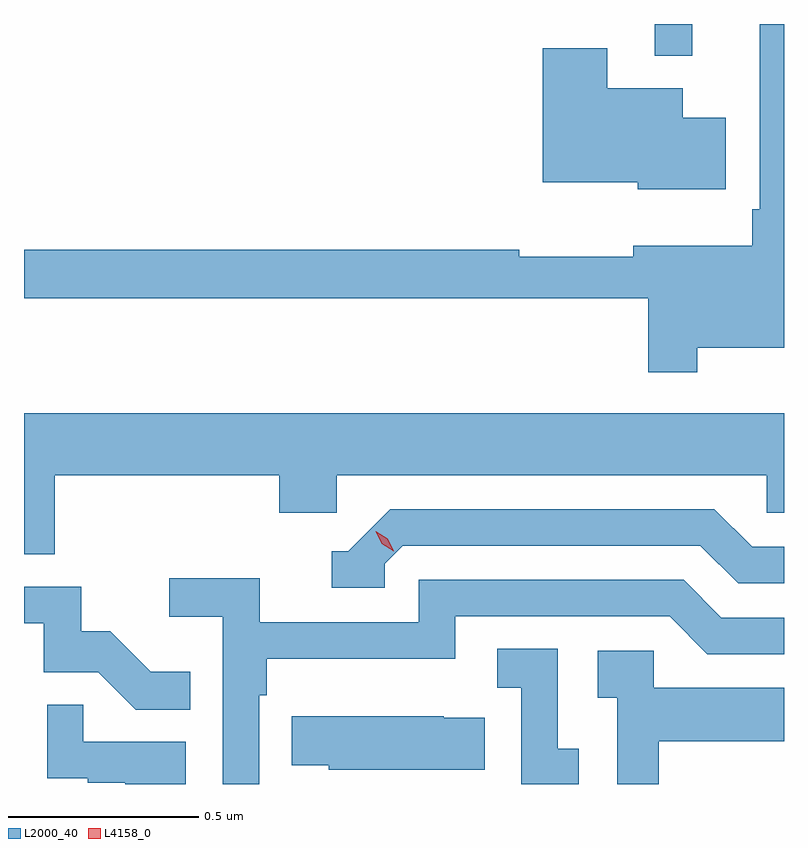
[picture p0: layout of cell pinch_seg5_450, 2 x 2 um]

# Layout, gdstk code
import gdstk
lib = gdstk.Library(unit=1e-6, precision=1e-09)
def R(c, l, rs):  # rectangles x0, y0, x1, y1
    for r in rs: c.add(gdstk.rectangle(r[:2], r[2:], *l))
def P(c, l, *ps):  # polygons
    for p in ps: c.add(gdstk.Polygon(p, *l))
L2000_40 = (2000, 40)
L4158_0 = (4158, 0)

pinch_seg5_450 = lib.new_cell('pinch_seg5_450')
R(pinch_seg5_450, L2000_40, [(902.445,867.188,902.543,867.272)])
P(pinch_seg5_450, L2000_40, [(902.557,866.42),(902.785,866.42),(902.785,867.272),(902.721,867.272),(902.721,866.785),(902.701,866.785),(902.701,866.689),(902.388,866.689),(902.388,866.66),(902.088,866.66),(902.088,866.678),(900.785,866.678),(900.785,866.55),(902.428,866.55),(902.428,866.355),(902.557,866.355)],
  [(902.632,867.025),(902.518,867.025),(902.518,867.103),(902.32,867.103),(902.32,867.208),(902.15,867.208),(902.15,866.855),(902.4,866.855),(902.4,866.837),(902.632,866.837)],
  [(900.866,866.084),(901.457,866.084),(901.457,865.986),(901.608,865.986),(901.608,866.084),(902.739,866.084),(902.739,865.986),(902.785,865.986),(902.785,866.248),(900.785,866.248),(900.785,865.876),(900.866,865.876)],
  [(901.734,865.851),(901.782,865.899),(902.565,865.899),(902.664,865.8),(902.785,865.8),(902.785,865.896),(902.701,865.896),(902.602,865.995),(901.749,865.995),(901.638,865.884),(901.595,865.884),(901.595,865.788),(901.734,865.788)],
  [(901.404,865.505),(901.424,865.505),(901.424,865.601),(901.92,865.601),(901.92,865.713),(902.484,865.713),(902.583,865.614),(902.785,865.614),(902.785,865.71),(902.62,865.71),(902.521,865.809),(901.824,865.809),(901.824,865.698),(901.406,865.698),(901.406,865.814),(901.167,865.814),(901.167,865.712),(901.308,865.712),(901.308,865.272),(901.404,865.272)],
  [(901.223,865.567),(901.119,865.567),(901.012,865.674),(900.936,865.674),(900.936,865.791),(900.785,865.791),(900.785,865.695),(900.837,865.695),(900.837,865.566),(900.981,865.566),(901.079,865.468),(901.223,865.468)],
  [(902.245,865.365),(902.19,865.365),(902.19,865.628),(902.031,865.628),(902.031,865.525),(902.094,865.525),(902.094,865.272),(902.245,865.272)],
  [(902.455,865.385),(902.785,865.385),(902.785,865.525),(902.442,865.525),(902.442,865.623),(902.295,865.623),(902.295,865.499),(902.346,865.499),(902.346,865.272),(902.455,865.272)],
  [(901.21,865.383),(900.941,865.383),(900.941,865.481),(900.846,865.481),(900.846,865.287),(900.953,865.287),(900.953,865.275),(901.052,865.275),(901.052,865.272),(901.21,865.272)],
  [(901.997,865.447),(901.889,865.447),(901.889,865.45),(901.489,865.45),(901.489,865.321),(901.587,865.321),(901.587,865.31),(901.997,865.31)])
P(pinch_seg5_450, L4158_0, [(901.758,865.885),(901.727,865.904),(901.71,865.937),(901.71,865.937),(901.711,865.937),(901.742,865.918),(901.758,865.885),(901.758,865.885)])

lib.write_gds('pinch_seg5_450.gds')
